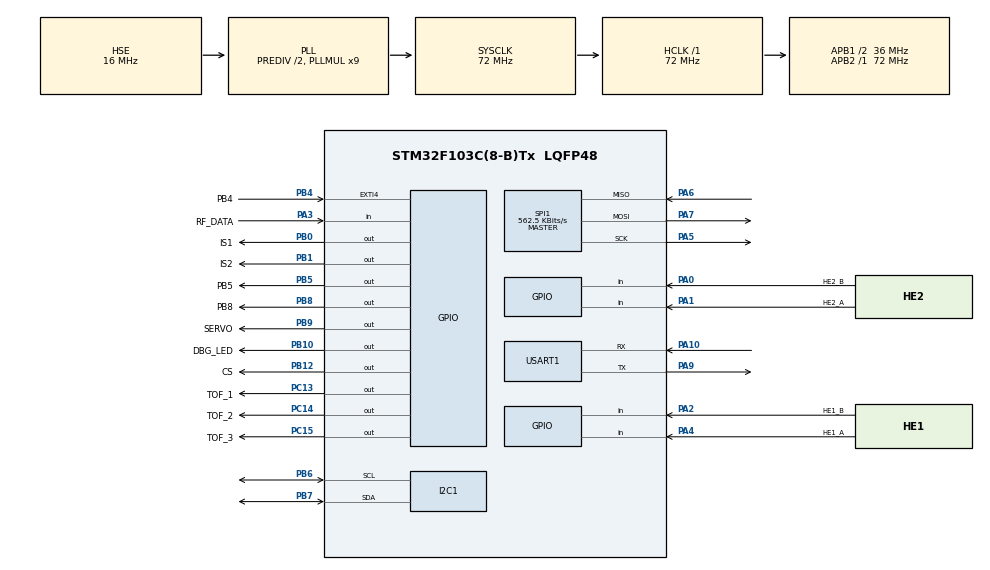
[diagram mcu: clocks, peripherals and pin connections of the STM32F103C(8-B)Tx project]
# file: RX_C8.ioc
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I2C1.I2C_Mode=I2C_Fast
Mcu.Family=STM32F1
Mcu.Name=STM32F103C(8-B)Tx
Mcu.Package=LQFP48
NVIC.PriorityGroup=NVIC_PRIORITYGROUP_4
NVIC.TIM2_IRQn=true\:0\:0\:false\:false\:true\:true\:true\:true
PA0-WKUP.GPIO_Label=HE2_B
PA0-WKUP.Signal=GPIO_Input
PA1.GPIO_Label=HE2_A
PA1.Signal=GPIO_Input
PA10.Mode=Asynchronous
PA10.Signal=USART1_RX
PA13.Mode=Serial_Wire
PA13.Signal=SYS_JTMS-SWDIO
PA14.Mode=Serial_Wire
PA14.Signal=SYS_JTCK-SWCLK
PA2.GPIO_Label=HE1_B
PA2.Signal=GPIO_Input
PA3.GPIO_Label=RF_DATA
PA3.Signal=GPIO_Input
PA4.GPIO_Label=HE1_A
PA4.Signal=GPIO_Input
PA5.Mode=Full_Duplex_Master
PA5.Signal=SPI1_SCK
PA6.Mode=Full_Duplex_Master
PA6.Signal=SPI1_MISO
PA7.Mode=Full_Duplex_Master
PA7.Signal=SPI1_MOSI
PA9.Mode=Asynchronous
PA9.Signal=USART1_TX
PB0.GPIO_Label=IS1
PB0.Signal=GPIO_Output
PB1.GPIO_Label=IS2
PB1.Signal=GPIO_Output
PB10.GPIO_Label=DBG_LED
PB10.Signal=GPIO_Output
PB12.GPIO_Label=CS
PB12.Signal=GPIO_Output
PB4.GPIO_Label=PB4
PB4.Signal=GPXTI4
PB5.GPIO_Label=PB5
PB5.Signal=GPIO_Output
PB6.Mode=I2C
PB6.Signal=I2C1_SCL
PB7.Mode=I2C
PB7.Signal=I2C1_SDA
PB8.GPIO_Label=PB8
PB8.Signal=GPIO_Output
PB9.GPIO_Label=SERVO
PB9.Signal=GPIO_Output
PC13-TAMPER-RTC.GPIO_Label=TOF_1
PC13-TAMPER-RTC.Signal=GPIO_Output
PC14-OSC32_IN.GPIO_Label=TOF_2
PC14-OSC32_IN.Signal=GPIO_Output
PC15-OSC32_OUT.GPIO_Label=TOF_3
PC15-OSC32_OUT.Signal=GPIO_Output
PD0-OSC_IN.Mode=HSE-External-Oscillator
PD0-OSC_IN.Signal=RCC_OSC_IN
PD1-OSC_OUT.Mode=HSE-External-Oscillator
PD1-OSC_OUT.Signal=RCC_OSC_OUT
ProjectManager.HeapSize=0x200
ProjectManager.StackSize=0x400
ProjectManager.TargetToolchain=STM32CubeIDE
RCC.AHBFreq_Value=72000000
RCC.APB1CLKDivider=RCC_HCLK_DIV2
RCC.APB1Freq_Value=36000000
RCC.APB1TimFreq_Value=72000000
RCC.APB2Freq_Value=72000000
RCC.APB2TimFreq_Value=72000000
RCC.HCLKFreq_Value=72000000
RCC.HSEDivPLL=RCC_HSE_PREDIV_DIV2
RCC.HSE_VALUE=16000000
RCC.PLLMUL=RCC_PLL_MUL9
RCC.PLLSourceVirtual=RCC_PLLSOURCE_HSE
RCC.SYSCLKFreq_VALUE=72000000
RCC.SYSCLKSource=RCC_SYSCLKSOURCE_PLLCLK
RCC.USBFreq_Value=72000000
SPI1.BaudRatePrescaler=SPI_BAUDRATEPRESCALER_128
SPI1.CalculateBaudRate=562.5 KBits/s
SPI1.Direction=SPI_DIRECTION_2LINES
SPI1.Mode=SPI_MODE_MASTER
SPI1.VirtualType=VM_MASTER
TIM2.AutoReloadPreload=TIM_AUTORELOAD_PRELOAD_ENABLE
TIM2.Period=499
USART1.VirtualMode=VM_ASYNC
VP_TIM2_VS_ClockSourceINT.Mode=Internal
board=custom

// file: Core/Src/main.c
/* USER CODE BEGIN Header */
/**
  ******************************************************************************
  * @file           : main.c
  * @brief          : Minimal example for 2 daisy-chained BTM9011 drivers
  *                   Only the SECOND driver moves forward
  ******************************************************************************
  */
/* USER CODE END Header */
#include "main.h"

/* USER CODE BEGIN Includes */
#include "btm9011.h"
#include "rf433.h"
/* USER CODE END Includes */

I2C_HandleTypeDef hi2c1;

SPI_HandleTypeDef hspi1;

TIM_HandleTypeDef htim2;

UART_HandleTypeDef huart1;

/* USER CODE BEGIN PV */
BTM9011_HandleTypeDef hbtm;
RF433_HandleTypeDef   hrf;
/* USER CODE END PV */

void SystemClock_Config(void);
static void MX_GPIO_Init(void);
static void MX_I2C1_Init(void);
static void MX_SPI1_Init(void);
static void MX_USART1_UART_Init(void);
static void MX_TIM2_Init(void);

int main(void)
{

  /* MCU Configuration--------------------------------------------------------*/

  /* Reset of all peripherals, Initializes the Flash interface and the Systick. */
  HAL_Init();

  /* Configure the system clock */
  SystemClock_Config();

  /* Initialize all configured peripherals */
  MX_GPIO_Init();
  MX_I2C1_Init();
  MX_SPI1_Init();
  MX_USART1_UART_Init();
  MX_TIM2_Init();
  /* USER CODE BEGIN 2 */

  /* Motor driver — SPI1, two daisy-chained BTM9011 chips */
  BTM9011_Init(&hbtm, &hspi1, CS_GPIO_Port, CS_Pin, 2);

  /* RF receiver
   *   RX: RF_DATA_Pin (PA3) ← XY-MK-5V DATA output
   *   TX: PB5 used as dummy placeholder (not connected on this board) */
  RF433_Init(&hrf,
             PB5_GPIO_Port,      PB5_Pin,       /* TX — unused on RX board */
             RF_DATA_GPIO_Port,  RF_DATA_Pin);  /* RX — XY-MK-5V DATA      */

  /* Start the 16 kHz timer that drives the RF state machine */
  HAL_TIM_Base_Start_IT(&htim2);

  /* Both motors start braked */
  uint8_t cmds[2] = { BTM9011_CMD_BRAKE, BTM9011_CMD_BRAKE };
  BTM9011_Send(&hbtm, cmds);

  /* USER CODE END 2 */

  /* Infinite loop */
  while (1)
  {

    /* USER CODE BEGIN 3 */
	HAL_GPIO_WritePin(GPIOB, GPIO_PIN_10, GPIO_PIN_RESET);
	HAL_Delay(5000);
	HAL_GPIO_WritePin(GPIOB, GPIO_PIN_10, GPIO_PIN_SET);
    /*
     * Packet format (2 bytes, sent by the transmitter):
     *   [0] = BTM9011 command for motor 1 (left)
     *   [1] = BTM9011 command for motor 2 (right)
     *
     * Commands are built on the TX side with BTM9011_BuildCmd(dir, duty).
     * Example: BTM9011_BuildCmd(BTM9011_DIR_FORWARD, 20) = forward at ~65%
     */
    if (RF433_Available(&hrf))
    {
      uint8_t pkt[RF433_MAX_PAYLOAD];
      uint8_t len;

      if (RF433_Receive(&hrf, pkt, &len) == HAL_OK && len == 2)
      {
        cmds[0] = pkt[0];   /* motor 1 */
        cmds[1] = pkt[1];   /* motor 2 */
        BTM9011_Send(&hbtm, cmds);

        /* Blink debug LED on each valid packet */
        HAL_GPIO_TogglePin(DBG_LED_GPIO_Port, DBG_LED_Pin);
      }
    }

  }
  /* USER CODE END 3 */
}

void SystemClock_Config(void)
{
  RCC_OscInitTypeDef RCC_OscInitStruct = {0};
  RCC_ClkInitTypeDef RCC_ClkInitStruct = {0};

  /** Initializes the RCC Oscillators according to the specified parameters
  * in the RCC_OscInitTypeDef structure.
  */
  RCC_OscInitStruct.OscillatorType = RCC_OSCILLATORTYPE_HSE;
  RCC_OscInitStruct.HSEState = RCC_HSE_ON;
  RCC_OscInitStruct.HSEPredivValue = RCC_HSE_PREDIV_DIV2;
  RCC_OscInitStruct.HSIState = RCC_HSI_ON;
  RCC_OscInitStruct.PLL.PLLState = RCC_PLL_ON;
  RCC_OscInitStruct.PLL.PLLSource = RCC_PLLSOURCE_HSE;
  RCC_OscInitStruct.PLL.PLLMUL = RCC_PLL_MUL9;
  if (HAL_RCC_OscConfig(&RCC_OscInitStruct) != HAL_OK)
  {
    Error_Handler();
  }

  /** Initializes the CPU, AHB and APB buses clocks
  */
  RCC_ClkInitStruct.ClockType = RCC_CLOCKTYPE_HCLK|RCC_CLOCKTYPE_SYSCLK
                              |RCC_CLOCKTYPE_PCLK1|RCC_CLOCKTYPE_PCLK2;
  RCC_ClkInitStruct.SYSCLKSource = RCC_SYSCLKSOURCE_PLLCLK;
  RCC_ClkInitStruct.AHBCLKDivider = RCC_SYSCLK_DIV1;
  RCC_ClkInitStruct.APB1CLKDivider = RCC_HCLK_DIV2;
  RCC_ClkInitStruct.APB2CLKDivider = RCC_HCLK_DIV1;

  if (HAL_RCC_ClockConfig(&RCC_ClkInitStruct, FLASH_LATENCY_2) != HAL_OK)
  {
    Error_Handler();
  }
}

static void MX_I2C1_Init(void)
{

  hi2c1.Instance = I2C1;
  hi2c1.Init.ClockSpeed = 400000;
  hi2c1.Init.DutyCycle = I2C_DUTYCYCLE_2;
  hi2c1.Init.OwnAddress1 = 0;
  hi2c1.Init.AddressingMode = I2C_ADDRESSINGMODE_7BIT;
  hi2c1.Init.DualAddressMode = I2C_DUALADDRESS_DISABLE;
  hi2c1.Init.OwnAddress2 = 0;
  hi2c1.Init.GeneralCallMode = I2C_GENERALCALL_DISABLE;
  hi2c1.Init.NoStretchMode = I2C_NOSTRETCH_DISABLE;
  if (HAL_I2C_Init(&hi2c1) != HAL_OK)
  {
    Error_Handler();
  }

}

static void MX_SPI1_Init(void)
{

  /* SPI1 parameter configuration*/
  hspi1.Instance = SPI1;
  hspi1.Init.Mode = SPI_MODE_MASTER;
  hspi1.Init.Direction = SPI_DIRECTION_2LINES;
  hspi1.Init.DataSize = SPI_DATASIZE_8BIT;
  hspi1.Init.CLKPolarity = SPI_POLARITY_LOW;
  hspi1.Init.CLKPhase = SPI_PHASE_1EDGE;
  hspi1.Init.NSS = SPI_NSS_SOFT;
  hspi1.Init.BaudRatePrescaler = SPI_BAUDRATEPRESCALER_128;
  hspi1.Init.FirstBit = SPI_FIRSTBIT_MSB;
  hspi1.Init.TIMode = SPI_TIMODE_DISABLE;
  hspi1.Init.CRCCalculation = SPI_CRCCALCULATION_DISABLE;
  hspi1.Init.CRCPolynomial = 10;
  if (HAL_SPI_Init(&hspi1) != HAL_OK)
  {
    Error_Handler();
  }

}

static void MX_TIM2_Init(void)
{

  TIM_ClockConfigTypeDef sClockSourceConfig = {0};
  TIM_MasterConfigTypeDef sMasterConfig = {0};

  htim2.Instance = TIM2;
  htim2.Init.Prescaler = 0;
  htim2.Init.CounterMode = TIM_COUNTERMODE_UP;
  htim2.Init.Period = 499;
  htim2.Init.ClockDivision = TIM_CLOCKDIVISION_DIV1;
  htim2.Init.AutoReloadPreload = TIM_AUTORELOAD_PRELOAD_ENABLE;
  if (HAL_TIM_Base_Init(&htim2) != HAL_OK)
  {
    Error_Handler();
  }
  sClockSourceConfig.ClockSource = TIM_CLOCKSOURCE_INTERNAL;
  if (HAL_TIM_ConfigClockSource(&htim2, &sClockSourceConfig) != HAL_OK)
  {
    Error_Handler();
  }
  sMasterConfig.MasterOutputTrigger = TIM_TRGO_RESET;
  sMasterConfig.MasterSlaveMode = TIM_MASTERSLAVEMODE_DISABLE;
  if (HAL_TIMEx_MasterConfigSynchronization(&htim2, &sMasterConfig) != HAL_OK)
  {
    Error_Handler();
  }

}

static void MX_USART1_UART_Init(void)
{

  huart1.Instance = USART1;
  huart1.Init.BaudRate = 115200;
  huart1.Init.WordLength = UART_WORDLENGTH_8B;
  huart1.Init.StopBits = UART_STOPBITS_1;
  huart1.Init.Parity = UART_PARITY_NONE;
  huart1.Init.Mode = UART_MODE_TX_RX;
  huart1.Init.HwFlowCtl = UART_HWCONTROL_NONE;
  huart1.Init.OverSampling = UART_OVERSAMPLING_16;
  if (HAL_UART_Init(&huart1) != HAL_OK)
  {
    Error_Handler();
  }

}

static void MX_GPIO_Init(void)
{
  GPIO_InitTypeDef GPIO_InitStruct = {0};

  /* GPIO Ports Clock Enable */
  __HAL_RCC_GPIOC_CLK_ENABLE();
  __HAL_RCC_GPIOD_CLK_ENABLE();
  __HAL_RCC_GPIOA_CLK_ENABLE();
  __HAL_RCC_GPIOB_CLK_ENABLE();

  /*Configure GPIO pin Output Level */
  HAL_GPIO_WritePin(GPIOC, TOF_1_Pin|TOF_2_Pin|TOF_3_Pin, GPIO_PIN_RESET);

  /*Configure GPIO pin Output Level */
  HAL_GPIO_WritePin(GPIOB, IS1_Pin|IS2_Pin|DBG_LED_Pin|CS_Pin
                          |PB5_Pin|PB8_Pin|SERVO_Pin, GPIO_PIN_RESET);

  /*Configure GPIO pins : TOF_1_Pin TOF_2_Pin TOF_3_Pin */
  GPIO_InitStruct.Pin = TOF_1_Pin|TOF_2_Pin|TOF_3_Pin;
  GPIO_InitStruct.Mode = GPIO_MODE_OUTPUT_PP;
  GPIO_InitStruct.Pull = GPIO_NOPULL;
  GPIO_InitStruct.Speed = GPIO_SPEED_FREQ_LOW;
  HAL_GPIO_Init(GPIOC, &GPIO_InitStruct);

  /*Configure GPIO pins : HE2_B_Pin HE2_A_Pin HE1_B_Pin RF_DATA_Pin
                           HE1_A_Pin */
  GPIO_InitStruct.Pin = HE2_B_Pin|HE2_A_Pin|HE1_B_Pin|RF_DATA_Pin
                          |HE1_A_Pin;
  GPIO_InitStruct.Mode = GPIO_MODE_INPUT;
  GPIO_InitStruct.Pull = GPIO_NOPULL;
  HAL_GPIO_Init(GPIOA, &GPIO_InitStruct);

  /*Configure GPIO pins : IS1_Pin IS2_Pin DBG_LED_Pin CS_Pin
                           PB5_Pin PB8_Pin SERVO_Pin */
  GPIO_InitStruct.Pin = IS1_Pin|IS2_Pin|DBG_LED_Pin|CS_Pin
                          |PB5_Pin|PB8_Pin|SERVO_Pin;
  GPIO_InitStruct.Mode = GPIO_MODE_OUTPUT_PP;
  GPIO_InitStruct.Pull = GPIO_NOPULL;
  GPIO_InitStruct.Speed = GPIO_SPEED_FREQ_LOW;
  HAL_GPIO_Init(GPIOB, &GPIO_InitStruct);

  /*Configure GPIO pin : PB4_Pin */
  GPIO_InitStruct.Pin = PB4_Pin;
  GPIO_InitStruct.Mode = GPIO_MODE_IT_RISING;
  GPIO_InitStruct.Pull = GPIO_NOPULL;
  HAL_GPIO_Init(PB4_GPIO_Port, &GPIO_InitStruct);

}

/* USER CODE BEGIN 4 */

/* TIM2 fires at 16 000 Hz — feeds the RF433 bit-sampling state machine */
void HAL_TIM_PeriodElapsedCallback(TIM_HandleTypeDef *htim)
{
  if (htim->Instance == TIM2)
    RF433_TimerISR(&hrf);
}

/* USER CODE END 4 */

void Error_Handler(void)
{
  __disable_irq();
  while (1)
  {
  }
}
